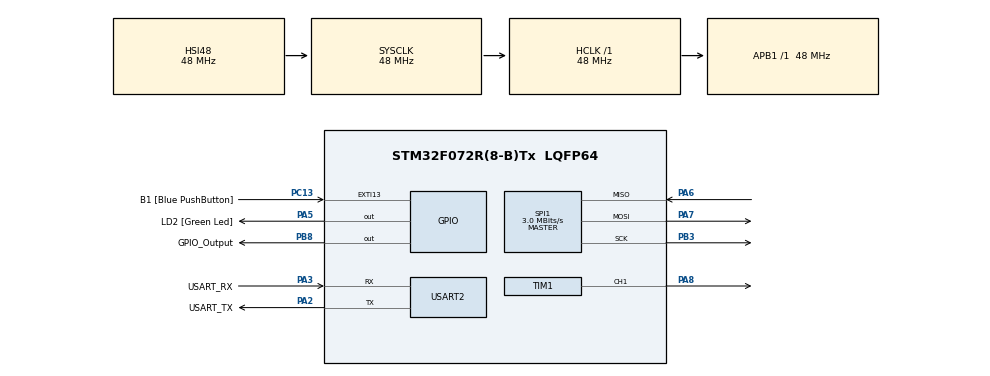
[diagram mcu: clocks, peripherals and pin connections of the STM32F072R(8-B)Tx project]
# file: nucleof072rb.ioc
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Mcu.Family=STM32F0
Mcu.Name=STM32F072R(8-B)Tx
Mcu.Package=LQFP64
PA13.GPIO_Label=TMS
PA13.Mode=Serial_Wire
PA13.Signal=SYS_SWDIO
PA14.GPIO_Label=TCK
PA14.Mode=Serial_Wire
PA14.Signal=SYS_SWCLK
PA2.GPIO_Label=USART_TX
PA2.GPIO_Mode=GPIO_MODE_AF_PP
PA2.GPIO_PuPd=GPIO_NOPULL
PA2.GPIO_Speed=GPIO_SPEED_FREQ_LOW
PA2.Mode=Asynchronous
PA2.Signal=USART2_TX
PA3.GPIO_Label=USART_RX
PA3.GPIO_Mode=GPIO_MODE_AF_PP
PA3.GPIO_PuPd=GPIO_NOPULL
PA3.GPIO_Speed=GPIO_SPEED_FREQ_LOW
PA3.Mode=Asynchronous
PA3.Signal=USART2_RX
PA5.GPIO_Label=LD2 [Green Led]
PA5.GPIO_Mode=GPIO_MODE_OUTPUT_PP
PA5.GPIO_PuPd=GPIO_NOPULL
PA5.GPIO_Speed=GPIO_SPEED_FREQ_LOW
PA5.Signal=GPIO_Output
PA6.Mode=Full_Duplex_Master
PA6.Signal=SPI1_MISO
PA7.Mode=Full_Duplex_Master
PA7.Signal=SPI1_MOSI
PA8.Signal=S_TIM1_CH1
PB3.Mode=Full_Duplex_Master
PB3.Signal=SPI1_SCK
PB8.GPIO_Label=GPIO_Output
PB8.Signal=GPIO_Output
PC13.GPIO_Label=B1 [Blue PushButton]
PC13.GPIO_ModeDefaultEXTI=GPIO_MODE_IT_FALLING
PC13.Signal=GPXTI13
PC14-OSC32_IN.Mode=LSE-External-Oscillator
PC14-OSC32_IN.Signal=RCC_OSC32_IN
PC15-OSC32_OUT.Mode=LSE-External-Oscillator
PC15-OSC32_OUT.Signal=RCC_OSC32_OUT
PF0-OSC_IN.Mode=HSE-External-Clock-Source
PF0-OSC_IN.Signal=RCC_OSC_IN
PF1-OSC_OUT.Signal=RCC_OSC_OUT
ProjectManager.HeapSize=0x200
ProjectManager.StackSize=0x400
ProjectManager.TargetToolchain=STM32CubeIDE
RCC.AHBFreq_Value=48000000
RCC.APB1Freq_Value=48000000
RCC.APB1TimFreq_Value=48000000
RCC.FLatency-AdvancedSettings=FLASH_LATENCY_1
RCC.HCLKFreq_Value=48000000
RCC.PLLDivider=RCC_PREDIV_DIV2
RCC.PLLMUL=RCC_PLL_MUL12
RCC.PREFETCH_ENABLE-AdvancedSettings=1
RCC.SYSCLKFreq_VALUE=48000000
RCC.SYSCLKSource=RCC_SYSCLKSOURCE_HSI48
SH.S_TIM1_CH1.0=TIM1_CH1,PWM Generation1 CH1
SPI1.BaudRatePrescaler=SPI_BAUDRATEPRESCALER_16
SPI1.CLKPhase=SPI_PHASE_2EDGE
SPI1.CLKPolarity=SPI_POLARITY_HIGH
SPI1.CalculateBaudRate=3.0 MBits/s
SPI1.DataSize=SPI_DATASIZE_8BIT
SPI1.Direction=SPI_DIRECTION_2LINES
SPI1.Mode=SPI_MODE_MASTER
SPI1.VirtualType=VM_MASTER
TIM1.AutoReloadPreload=TIM_AUTORELOAD_PRELOAD_ENABLE
TIM1.Channel-PWM\ Generation1\ CH1=TIM_CHANNEL_1
TIM1.Period=64000
TIM1.Prescaler=14
TIM1.Pulse-PWM\ Generation1\ CH1=3200
USART2.VirtualMode=VM_ASYNC
USART2.VirtualMode-Asynchronous=VM_ASYNC
VP_TIM1_VS_ClockSourceINT.Mode=Internal
board=NUCLEO-F072RB

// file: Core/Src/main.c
/* USER CODE BEGIN Header */
/**
  ******************************************************************************
  * @file           : main.c
  * @brief          : Main program body
  ******************************************************************************
  * @attention
  *
  * <h2><center>&copy; Copyright (c) 2021 STMicroelectronics.
  * All rights reserved.</center></h2>
  *
  * This software component is licensed by ST under BSD 3-Clause license,
  * the "License"; You may not use this file except in compliance with the
  * License. You may obtain a copy of the License at:
  *                        opensource.org/licenses/BSD-3-Clause
  *
  ******************************************************************************
  */
/* USER CODE END Header */
#include "main.h"
#include "spi.h"
#include "tim.h"
#include "usart.h"
#include "gpio.h"

void SystemClock_Config(void);

/* USER CODE BEGIN 0 */

const int range_a = 1023;
const int min_a = 0;
const int max_a = 1023;
const int range_b = 3200;
const int min_b = 3200;
const int max_b = 6400;

uint8_t tx_pointer[3] = {0x01, 0x80, 0};
uint8_t rx_pointer[3] = {0}; // 10 bit output
uint16_t adc_val;

/* USER CODE END 0 */

int main(void)
{

  /* MCU Configuration--------------------------------------------------------*/

  /* Reset of all peripherals, Initializes the Flash interface and the Systick. */
  HAL_Init();

  /* Configure the system clock */
  SystemClock_Config();

  /* Initialize all configured peripherals */
  MX_GPIO_Init();
  MX_USART2_UART_Init();
  MX_SPI1_Init();
  MX_TIM1_Init();
  /* USER CODE BEGIN 2 */
  HAL_GPIO_WritePin(GPIOB, GPIO_Output_Pin, GPIO_PIN_SET); //chip-select is active high
  __HAL_TIM_SET_COMPARE(&htim1, TIM_CHANNEL_1, 3200); //set timer pwm @ start

  HAL_TIM_PWM_Start(&htim1, TIM_CHANNEL_1);
  /* USER CODE END 2 */

  /* Infinite loop */
  /* USER CODE BEGIN WHILE */
  while (1)
  {
	  /* SPI */
	  //CHIP SELECT (GPIO_OUTPUT)
	  HAL_GPIO_WritePin(GPIOB, GPIO_Output_Pin, GPIO_PIN_RESET);
	  HAL_SPI_TransmitReceive(&hspi1, tx_pointer, rx_pointer, 3, 100); //clarification on timeout value
	  HAL_GPIO_WritePin(GPIOB, GPIO_Output_Pin, GPIO_PIN_SET);

	  /* MCU TO SERVO MOTOR (PWM SIGNAL) */
	  adc_val = (((rx_pointer[1] & 0x07) << 8) | (rx_pointer[2])); //gets rid of the 5 msb of the 2nd transmission before shifting
	  adc_val = (adc_val*range_b)/range_a + min_a; //convert 10-bit adc value (0 to 1023) to counts (within 3200 to 6400)
	  __HAL_TIM_SET_COMPARE(&htim1, TIM_CHANNEL_1, adc_val); //set timer pwm

	  HAL_Delay(10);

    /* USER CODE END WHILE */

  }
}

void SystemClock_Config(void)
{
  RCC_OscInitTypeDef RCC_OscInitStruct = {0};
  RCC_ClkInitTypeDef RCC_ClkInitStruct = {0};
  RCC_PeriphCLKInitTypeDef PeriphClkInit = {0};

  /** Initializes the RCC Oscillators according to the specified parameters
  * in the RCC_OscInitTypeDef structure.
  */
  RCC_OscInitStruct.OscillatorType = RCC_OSCILLATORTYPE_HSI48;
  RCC_OscInitStruct.HSI48State = RCC_HSI48_ON;
  RCC_OscInitStruct.PLL.PLLState = RCC_PLL_NONE;
  if (HAL_RCC_OscConfig(&RCC_OscInitStruct) != HAL_OK)
  {
    Error_Handler();
  }
  /** Initializes the CPU, AHB and APB buses clocks
  */
  RCC_ClkInitStruct.ClockType = RCC_CLOCKTYPE_HCLK|RCC_CLOCKTYPE_SYSCLK
                              |RCC_CLOCKTYPE_PCLK1;
  RCC_ClkInitStruct.SYSCLKSource = RCC_SYSCLKSOURCE_HSI48;
  RCC_ClkInitStruct.AHBCLKDivider = RCC_SYSCLK_DIV1;
  RCC_ClkInitStruct.APB1CLKDivider = RCC_HCLK_DIV1;

  if (HAL_RCC_ClockConfig(&RCC_ClkInitStruct, FLASH_LATENCY_1) != HAL_OK)
  {
    Error_Handler();
  }
  PeriphClkInit.PeriphClockSelection = RCC_PERIPHCLK_USART2;
  PeriphClkInit.Usart2ClockSelection = RCC_USART2CLKSOURCE_PCLK1;
  if (HAL_RCCEx_PeriphCLKConfig(&PeriphClkInit) != HAL_OK)
  {
    Error_Handler();
  }
}

void Error_Handler(void)
{
  __disable_irq();
  while (1)
  {
  }
}

/************************ (C) COPYRIGHT STMicroelectronics *****END OF FILE****/
